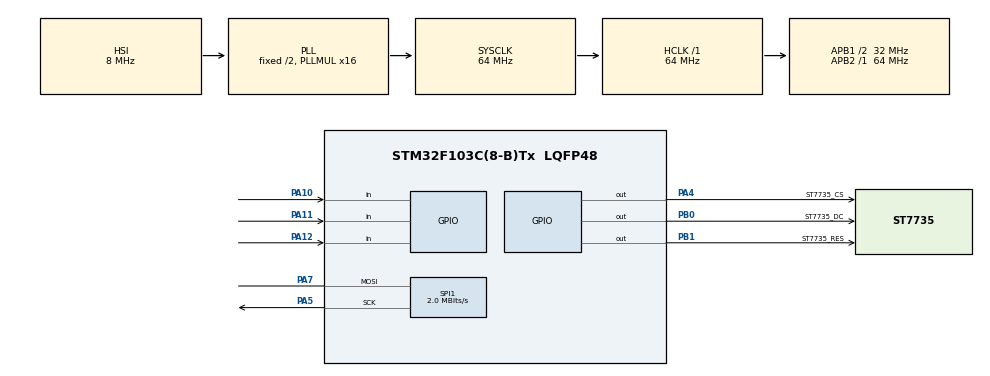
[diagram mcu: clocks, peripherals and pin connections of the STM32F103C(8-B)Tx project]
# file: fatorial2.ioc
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Mcu.Family=STM32F1
Mcu.Name=STM32F103C(8-B)Tx
Mcu.Package=LQFP48
NVIC.PriorityGroup=NVIC_PRIORITYGROUP_4
PA10.GPIO_PuPd=GPIO_PULLDOWN
PA10.Signal=GPIO_Input
PA11.GPIO_PuPd=GPIO_PULLDOWN
PA11.Signal=GPIO_Input
PA12.GPIO_PuPd=GPIO_PULLDOWN
PA12.Signal=GPIO_Input
PA13.Mode=Serial_Wire
PA13.Signal=SYS_JTMS-SWDIO
PA14.Mode=Serial_Wire
PA14.Signal=SYS_JTCK-SWCLK
PA4.GPIO_Label=ST7735_CS
PA4.Signal=GPIO_Output
PA5.Mode=Simplex_Bidirectional_Master
PA5.Signal=SPI1_SCK
PA7.Mode=Simplex_Bidirectional_Master
PA7.Signal=SPI1_MOSI
PB0.GPIO_Label=ST7735_DC
PB0.Signal=GPIO_Output
PB1.GPIO_Label=ST7735_RES
PB1.Signal=GPIO_Output
ProjectManager.HeapSize=0x200
ProjectManager.StackSize=0x400
ProjectManager.TargetToolchain=STM32CubeIDE
RCC.AHBFreq_Value=64000000
RCC.APB1CLKDivider=RCC_HCLK_DIV2
RCC.APB1Freq_Value=32000000
RCC.APB1TimFreq_Value=64000000
RCC.APB2Freq_Value=64000000
RCC.APB2TimFreq_Value=64000000
RCC.HCLKFreq_Value=64000000
RCC.PLLMUL=RCC_PLL_MUL16
RCC.SYSCLKFreq_VALUE=64000000
RCC.SYSCLKSource=RCC_SYSCLKSOURCE_PLLCLK
RCC.USBFreq_Value=64000000
SPI1.BaudRatePrescaler=SPI_BAUDRATEPRESCALER_32
SPI1.CalculateBaudRate=2.0 MBits/s
SPI1.Direction=SPI_DIRECTION_1LINE
SPI1.Mode=SPI_MODE_MASTER
SPI1.VirtualType=VM_MASTER
board=custom

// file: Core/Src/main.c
/* USER CODE BEGIN Header */
/**
  ******************************************************************************
  * @file           : main.c
  * @brief          : Main program body
  ******************************************************************************
  * @attention
  *
  * <h2><center>&copy; Copyright (c) 2025 STMicroelectronics.
  * All rights reserved.</center></h2>
  *
  * This software component is licensed by ST under BSD 3-Clause license,
  * the "License"; You may not use this file except in compliance with the
  * License. You may obtain a copy of the License at:
  *                        opensource.org/licenses/BSD-3-Clause
  *
  ******************************************************************************
  */
/* USER CODE END Header */
#include "main.h"

/* USER CODE BEGIN Includes */
#include "st7735\st7735.h"
/* USER CODE END Includes */

SPI_HandleTypeDef hspi1;

/* USER CODE BEGIN PV */
static int n = 0;
char escolher [15];
char conta [15];
int resultado = 1;
/* USER CODE END PV */

void SystemClock_Config(void);
static void MX_GPIO_Init(void);
static void MX_SPI1_Init(void);
/* USER CODE BEGIN PFP */
void menu ();
int fatorial (int n);
/* USER CODE END PFP */

int main(void)
{

  /* MCU Configuration--------------------------------------------------------*/

  /* Reset of all peripherals, Initializes the Flash interface and the Systick. */
  HAL_Init();

  /* Configure the system clock */
  SystemClock_Config();

  /* Initialize all configured peripherals */
  MX_GPIO_Init();
  MX_SPI1_Init();
  /* USER CODE BEGIN 2 */
  ST7735_Init();

  /* USER CODE END 2 */

  /* Infinite loop */
  while (1)
  {

  }
}

void SystemClock_Config(void)
{
  RCC_OscInitTypeDef RCC_OscInitStruct = {0};
  RCC_ClkInitTypeDef RCC_ClkInitStruct = {0};

  /** Initializes the RCC Oscillators according to the specified parameters
  * in the RCC_OscInitTypeDef structure.
  */
  RCC_OscInitStruct.OscillatorType = RCC_OSCILLATORTYPE_HSI;
  RCC_OscInitStruct.HSIState = RCC_HSI_ON;
  RCC_OscInitStruct.HSICalibrationValue = RCC_HSICALIBRATION_DEFAULT;
  RCC_OscInitStruct.PLL.PLLState = RCC_PLL_ON;
  RCC_OscInitStruct.PLL.PLLSource = RCC_PLLSOURCE_HSI_DIV2;
  RCC_OscInitStruct.PLL.PLLMUL = RCC_PLL_MUL16;
  if (HAL_RCC_OscConfig(&RCC_OscInitStruct) != HAL_OK)
  {
    Error_Handler();
  }
  /** Initializes the CPU, AHB and APB buses clocks
  */
  RCC_ClkInitStruct.ClockType = RCC_CLOCKTYPE_HCLK|RCC_CLOCKTYPE_SYSCLK
                              |RCC_CLOCKTYPE_PCLK1|RCC_CLOCKTYPE_PCLK2;
  RCC_ClkInitStruct.SYSCLKSource = RCC_SYSCLKSOURCE_PLLCLK;
  RCC_ClkInitStruct.AHBCLKDivider = RCC_SYSCLK_DIV1;
  RCC_ClkInitStruct.APB1CLKDivider = RCC_HCLK_DIV2;
  RCC_ClkInitStruct.APB2CLKDivider = RCC_HCLK_DIV1;

  if (HAL_RCC_ClockConfig(&RCC_ClkInitStruct, FLASH_LATENCY_2) != HAL_OK)
  {
    Error_Handler();
  }
}

static void MX_SPI1_Init(void)
{

  /* SPI1 parameter configuration*/
  hspi1.Instance = SPI1;
  hspi1.Init.Mode = SPI_MODE_MASTER;
  hspi1.Init.Direction = SPI_DIRECTION_1LINE;
  hspi1.Init.DataSize = SPI_DATASIZE_8BIT;
  hspi1.Init.CLKPolarity = SPI_POLARITY_LOW;
  hspi1.Init.CLKPhase = SPI_PHASE_1EDGE;
  hspi1.Init.NSS = SPI_NSS_SOFT;
  hspi1.Init.BaudRatePrescaler = SPI_BAUDRATEPRESCALER_32;
  hspi1.Init.FirstBit = SPI_FIRSTBIT_MSB;
  hspi1.Init.TIMode = SPI_TIMODE_DISABLE;
  hspi1.Init.CRCCalculation = SPI_CRCCALCULATION_DISABLE;
  hspi1.Init.CRCPolynomial = 10;
  if (HAL_SPI_Init(&hspi1) != HAL_OK)
  {
    Error_Handler();
  }

}

static void MX_GPIO_Init(void)
{
  GPIO_InitTypeDef GPIO_InitStruct = {0};

  /* GPIO Ports Clock Enable */
  __HAL_RCC_GPIOA_CLK_ENABLE();
  __HAL_RCC_GPIOB_CLK_ENABLE();

  /*Configure GPIO pin Output Level */
  HAL_GPIO_WritePin(ST7735_CS_GPIO_Port, ST7735_CS_Pin, GPIO_PIN_RESET);

  /*Configure GPIO pin Output Level */
  HAL_GPIO_WritePin(GPIOB, ST7735_DC_Pin|ST7735_RES_Pin, GPIO_PIN_RESET);

  /*Configure GPIO pin : ST7735_CS_Pin */
  GPIO_InitStruct.Pin = ST7735_CS_Pin;
  GPIO_InitStruct.Mode = GPIO_MODE_OUTPUT_PP;
  GPIO_InitStruct.Pull = GPIO_NOPULL;
  GPIO_InitStruct.Speed = GPIO_SPEED_FREQ_LOW;
  HAL_GPIO_Init(ST7735_CS_GPIO_Port, &GPIO_InitStruct);

  /*Configure GPIO pins : ST7735_DC_Pin ST7735_RES_Pin */
  GPIO_InitStruct.Pin = ST7735_DC_Pin|ST7735_RES_Pin;
  GPIO_InitStruct.Mode = GPIO_MODE_OUTPUT_PP;
  GPIO_InitStruct.Pull = GPIO_NOPULL;
  GPIO_InitStruct.Speed = GPIO_SPEED_FREQ_LOW;
  HAL_GPIO_Init(GPIOB, &GPIO_InitStruct);

  /*Configure GPIO pins : PA10 PA11 PA12 */
  GPIO_InitStruct.Pin = GPIO_PIN_10|GPIO_PIN_11|GPIO_PIN_12;
  GPIO_InitStruct.Mode = GPIO_MODE_INPUT;
  GPIO_InitStruct.Pull = GPIO_PULLDOWN;
  HAL_GPIO_Init(GPIOA, &GPIO_InitStruct);

}

/* USER CODE BEGIN 4 */
int fatorial(int n) {
  if (n == 0) {
    return resultado;
  } else {
for (int i = 1; i <= n; i++) {
 resultado *= i;
}
return resultado;
}
}

void menu() {
  int aumentar = 0;
  int confirmar = 0;
  int diminuir = 0;

 if (n >= 0 && n <= 10) {
    aumentar = HAL_GPIO_ReadPin(GPIOA, GPIO_PIN_12);
    diminuir = HAL_GPIO_ReadPin(GPIOA, GPIO_PIN_10);
    confirmar = HAL_GPIO_ReadPin(GPIOA, GPIO_PIN_11);
    if (aumentar == 1){
    	n++;
    	sprintf(escolher, "numero: %d",n);
    	ST7735_WriteString(10, 20, escolher, Font_11x18, BLACK, WHITE );
    	HAL_Delay(300);
    }
    if(diminuir == 1){
    	n--;
    	sprintf(escolher, "numero: %d",n);
    	ST7735_WriteString(10, 20, escolher, Font_11x18, BLACK, WHITE );
    	HAL_Delay(300);
    }
    if (confirmar == 1){
    	resultado = fatorial(n);
    	sprintf(conta, "Fatorial: %d", resultado);
    	ST7735_WriteString(10, 60, conta, Font_11x18, WHITE, BLUE);
    	HAL_Delay(1000);
    }
}
 else{
  ST7735_WriteString(10, 90, "Numero invalido", Font_11x18, WHITE, RED);
 }
}
/* USER CODE END 4 */

void Error_Handler(void)
{
  __disable_irq();
  while (1)
  {
  }
}

/************************ (C) COPYRIGHT STMicroelectronics *****END OF FILE****/
